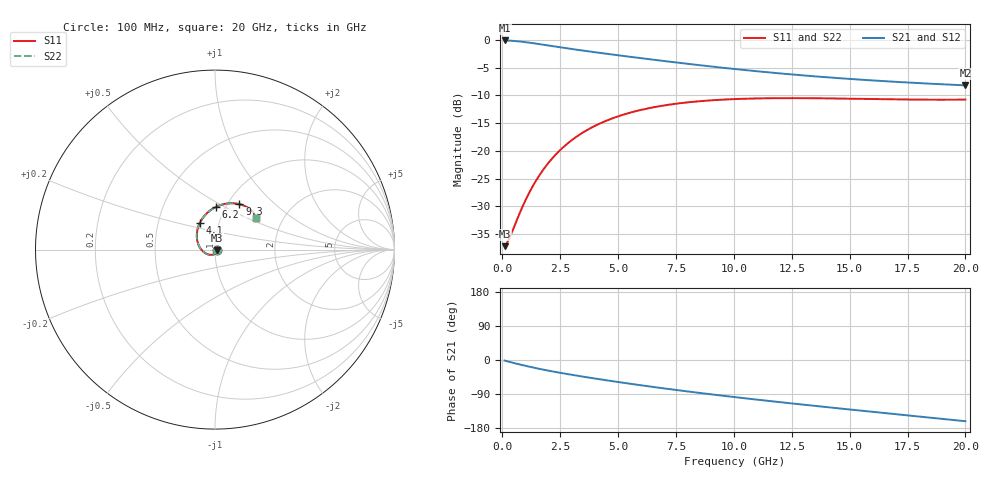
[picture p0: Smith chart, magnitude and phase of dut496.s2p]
! Touchstone file exported from HFSS 2024.1.0
!  File:  C:/UserFiles/LocalFiles/RDL_TSV_Batchsim/temp_RDL_TSV_496_1779736162.aedt
!  Generated:  03:27:28 AM May 26, 2026
!  Design:  RDL_TSV
!  Project:  temp_RDL_TSV_496_1779736162
!  Setup:  Setup1
!  Solution:  Sweep
! Variables:
!  dtsv = 10.26um
!  hbump = 3um
!  htsv = 98.4um
!  ldown = 245.04um
!  lrdl = 286.76um
!  p = 40
!  p1 = 54.02um
!  rhole = 10um
!  subl = 1882.16um
!  t = 450um
!  tdown = 2.01um
!  trdl = 2.24um
!  viad = 10um
!  wdown = 28.49um
!  wrdl = 23.04um
!  xbump = 18um
# GHz S MA R 50.000000
! Terminal data exported
! Port[1] = TM1_1_T1
! Port[2] = TM1_4_T1
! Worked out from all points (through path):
!   200 points, 100 MHz to 20 GHz, reference 50 ohm
!   highest |S21| = -0.12 dB at 100 MHz (marker M1); lowest = -8.2 dB at 20 GHz (marker M2)
!   group delay of S21, straight-line fit = 21 ps
!   lowest |S11| = -37.2 dB at 100 MHz (marker M3), VSWR 1.03, Z = 51.3 - j0.417 ohm
!   |S11| at or under -10 dB: start of sweep to end of sweep
!   |S22| runs from -37.2 to -10.5 dB; largest |S21 - S12| = 1.1e-14
!   S11 on the Smith chart (normalised r, x): 100 MHz: 1.03, -0.01; 4.1 GHz: 0.81, +0.25; 6.2 GHz: 0.90, +0.46; 9.3 GHz: 1.13, +0.62; 20 GHz: 1.47, +0.56
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0.1  0.01383 -17.1  0.986 -1.6  0.986 -1.6  0.01383 -17.1
! Gamma 0 0 0 0
! Port Impedance 50 0 50 0
0.3  0.01622 -49.0  0.9823 -4.8  0.9823 -4.8  0.01622 -49.0
0.8  0.02898 -107.7  0.9627 -12.4  0.9627 -12.4  0.02898 -107.7
1.1  0.0395 -132.2  0.9461 -16.7  0.9461 -16.7  0.0395 -132.2
1.4  0.05148 -151.9  0.9274 -20.8  0.9274 -20.8  0.05147 -151.9
1.7  0.06449 -168.1  0.9077 -24.6  0.9077 -24.6  0.06448 -168.1
2.1  0.08279 174.1  0.8813 -29.4  0.8813 -29.4  0.08278 174.1
2.5  0.1015 159.5  0.8558 -33.8  0.8558 -33.8  0.1015 159.5
3  0.1247 144.4  0.8259 -39.1  0.8259 -39.1  0.1246 144.4
3.5  0.1469 131.9  0.7981 -44.1  0.7981 -44.1  0.1468 131.9
4.1  0.1716 119.3  0.7674 -49.9  0.7674 -49.9  0.1716 119.3
5.1  0.2075 102.6  0.7206 -59.0  0.7206 -59.0  0.2075 102.6
6.2  0.2388 88.4  0.6742 -68.5  0.6742 -68.5  0.2387 88.4
6.8  0.2524 81.9  0.6507 -73.5  0.6507 -73.5  0.2523 81.9
8  0.273 71.1  0.6075 -83.0  0.6075 -83.0  0.273 71.1
9.3  0.2872 61.8  0.5662 -92.7  0.5662 -92.7  0.2872 61.8
10.1  0.2926 57.1  0.5435 -98.4  0.5435 -98.4  0.2925 57.1
11.7  0.2977 49.7  0.5042 -109.3  0.5042 -109.3  0.2976 49.7
13.4  0.2975 44.0  0.4701 -120.4  0.4701 -120.4  0.2975 44.0
15  0.2947 40.5  0.444 -130.6  0.444 -130.6  0.2946 40.5
16.7  0.291 38.3  0.4214 -141.2  0.4214 -141.2  0.2909 38.4
20  0.2891 37.6  0.3884 -161.6  0.3884 -161.6  0.289 37.6
